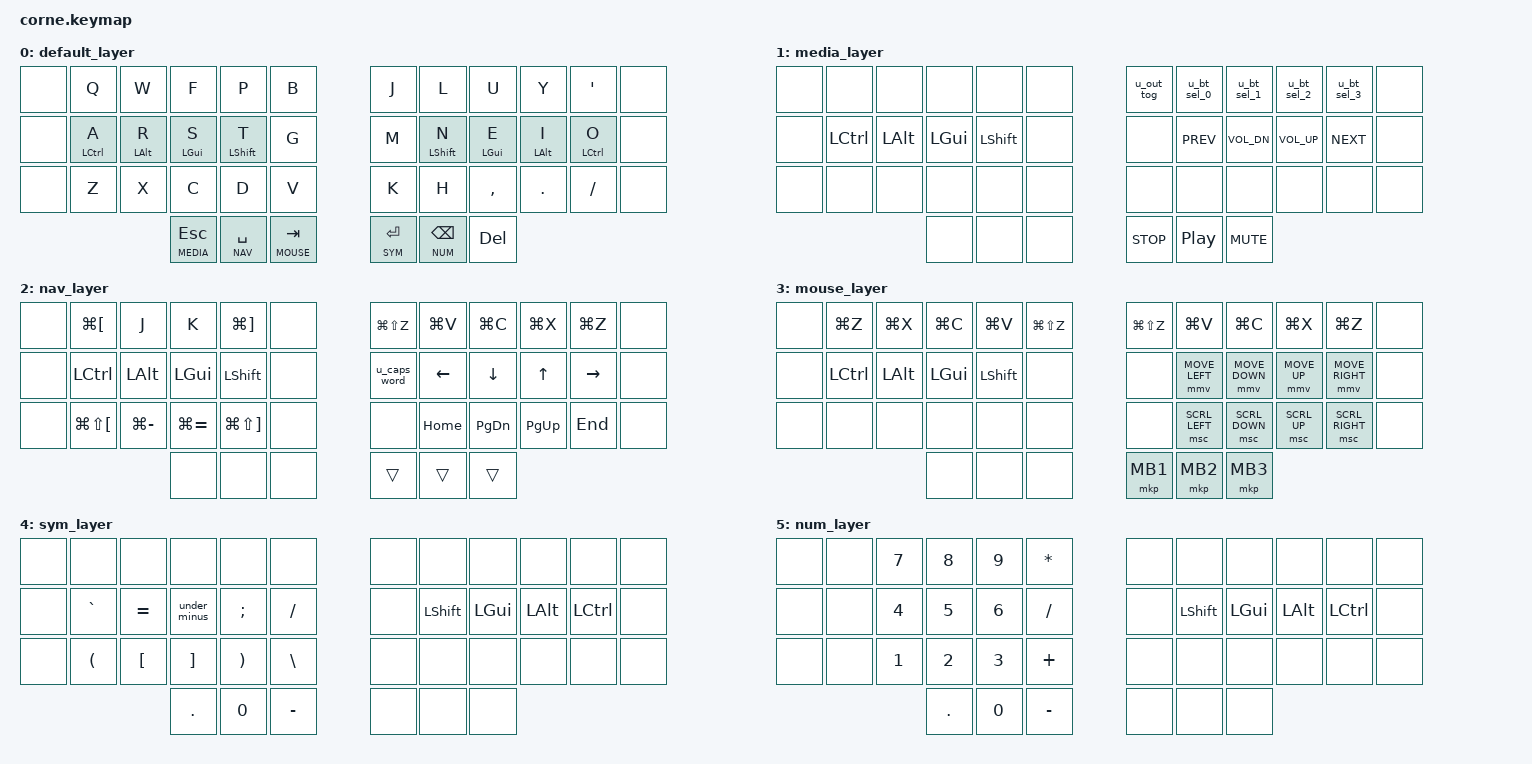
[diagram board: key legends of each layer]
// These must precede the pointing.h import according to https://zmk.dev/docs/keymaps/behaviors/mouse-emulation
#define ZMK_MOUSE_DEFAULT_MOVE_VAL 5000
#define ZMK_MOUSE_DEFAULT_SCRL_VAL 100

#include <behaviors.dtsi>
#include <dt-bindings/zmk/bt.h>
#include <dt-bindings/zmk/keys.h>
#include <dt-bindings/zmk/outputs.h>
#include <dt-bindings/zmk/pointing.h>

// This must be after zmk core imports
#include "zmk-helpers/helper.h"
#include "zmk-helpers/key-labels/42.h"

// Timeless home row mods. See https://github.com/urob/zmk-config?tab=readme-ov-file#timeless-homerow-mods
#define KEYS_L LT5 LT4 LT3 LT2 LT1 LT0 LM5 LM4 LM3 LM2 LM1 LM0 LB5 LB4 LB3 LB2 LB1 LB0  // Left-hand keys.
#define KEYS_R RT0 RT1 RT2 RT3 RT4 RT5 RM0 RM1 RM2 RM3 RM4 RM5 RB0 RB1 RB2 RB3 RB4 RB5  // Right-hand keys.
#define THUMBS LH2 LH1 LH0 RH0 RH1 RH2                                                  // Thumb keys.

/* Left-hand HRMs. */
ZMK_HOLD_TAP(hml,
    flavor = "balanced";
    tapping-term-ms = <280>;
    quick-tap-ms = <175>;
    require-prior-idle-ms = <150>;
    bindings = <&kp>, <&kp>;
    hold-trigger-key-positions = <KEYS_R THUMBS>;
    hold-trigger-on-release;
)

/* Right-hand HRMs. */
ZMK_HOLD_TAP(hmr,
    flavor = "balanced";
    tapping-term-ms = <280>;
    quick-tap-ms = <175>;
    require-prior-idle-ms = <150>;
    bindings = <&kp>, <&kp>;
    hold-trigger-key-positions = <KEYS_L THUMBS>;
    hold-trigger-on-release;
)

// pinky, ring, middle, index finger home row modifiers
#define HRM_P LCTRL
#define HRM_R LALT
#define HRM_M LGUI
#define HRM_I LSHIFT

#define DEFAULT 0
#define MEDIA 1
#define NAV 2
#define MOUSE 3
#define SYM 4
#define NUM 5
#define FUN 6

#define ___ &none

&lt {
  // Tap+hold on thumb keys to get repeated key press behavior. Helpful for backspace especially.
  quick-tap-ms = <200>;
};
&mmv {
  acceleration-exponent = <1>;
  time-to-max-speed-ms = <1500>;
  delay-ms = <0>;
};
&msc {
  acceleration-exponent = <1>;
  time-to-max-speed-ms = <5000>;
  delay-ms = <0>;
};

ZMK_LAYER(default_layer,
    // ╭─────────────┬─────────────┬─────────────┬─────────────┬─────────────┬─────────────╮   ╭─────────────┬─────────────┬─────────────┬─────────────┬─────────────┬─────────────╮
         ___           &kp Q         &kp W         &kp F         &kp P         &kp B             &kp J         &kp L         &kp U         &kp Y         &kp SINGLE_QUOTE ___
    // ├─────────────┼─────────────┼─────────────┼─────────────┼─────────────┼─────────────┤   ├─────────────┼─────────────┼─────────────┼─────────────┼─────────────┼─────────────┤
         ___           &hml HRM_P A  &hml HRM_R R  &hml HRM_M S  &hml HRM_I T  &kp G             &kp M         &hmr HRM_I N  &hmr HRM_M E  &hmr HRM_R I  &hmr HRM_P O  ___
    // ├─────────────┼─────────────┼─────────────┼─────────────┼─────────────┼─────────────┤   ├─────────────┼─────────────┼─────────────┼─────────────┼─────────────┼─────────────┤
         ___           &kp Z         &kp X         &kp C         &kp D         &kp V             &kp K         &kp H         &kp COMMA     &kp DOT       &kp SLASH     ___
    // ╰─────────────────────────────────────────┼─────────────┼─────────────┼─────────────┤   ├─────────────┼─────────────┼─────────────┼─────────────────────────────────────────╯
                                                   &lt MEDIA ESC &lt NAV SPACE &lt MOUSE TAB     &lt SYM ENTER &lt NUM BACKSPACE &kp DELETE
    //                                           ╰─────────────┴─────────────┴─────────────╯   ╰─────────────┴─────────────┴─────────────╯
)

#define U_MACRO(name,...) \
/ { \
  macros { \
    name: name { \
      compatible = "zmk,behavior-macro"; \
      #binding-cells = <0>; \
      __VA_ARGS__ \
    }; \
  }; \
};
#define MIRYOKU_SHIFT_FUNCTION(NAME, BINDING, SHIFT_BINDING) \
/ { \
  behaviors { \
    NAME: NAME { \
      compatible = "zmk,behavior-mod-morph"; \
      #binding-cells = <0>; \
      bindings = <BINDING>, <SHIFT_BINDING>; \
      mods = <(MOD_LSFT|MOD_RSFT)>; \
    }; \
  }; \
};
#define MIRYOKU_SHIFT_MACRO(NAME, BINDING, SHIFT_BINDING) \
U_MACRO(u_macro_ ## NAME, wait-ms = <0>; bindings = <SHIFT_BINDING>;) \
MIRYOKU_SHIFT_FUNCTION(NAME, BINDING, &u_macro_ ## NAME)

MIRYOKU_SHIFT_MACRO(u_bt_sel_0, &bt BT_SEL 0, &bt BT_SEL 0 &bt BT_CLR)
MIRYOKU_SHIFT_MACRO(u_bt_sel_1, &bt BT_SEL 1, &bt BT_SEL 1 &bt BT_CLR)
MIRYOKU_SHIFT_MACRO(u_bt_sel_2, &bt BT_SEL 2, &bt BT_SEL 2 &bt BT_CLR)
MIRYOKU_SHIFT_MACRO(u_bt_sel_3, &bt BT_SEL 3, &bt BT_SEL 3 &bt BT_CLR)
MIRYOKU_SHIFT_MACRO(u_bt_sel_4, &bt BT_SEL 4, &bt BT_SEL 4 &bt BT_CLR)

MIRYOKU_SHIFT_FUNCTION(u_out_tog, &out OUT_TOG, &out OUT_USB)

MIRYOKU_SHIFT_FUNCTION(u_caps_word, &caps_word, &kp CAPS)

ZMK_LAYER(media_layer,
    // ╭─────────────┬─────────────┬─────────────┬─────────────┬─────────────┬─────────────╮   ╭─────────────┬─────────────┬─────────────┬─────────────┬─────────────┬─────────────╮
         ___           ___           ___           ___           ___           ___               &u_out_tog    &u_bt_sel_0   &u_bt_sel_1   &u_bt_sel_2   &u_bt_sel_3   ___
    // ├─────────────┼─────────────┼─────────────┼─────────────┼─────────────┼─────────────┤   ├─────────────┼─────────────┼─────────────┼─────────────┼─────────────┼─────────────┤
         ___           &kp HRM_P     &kp HRM_R     &kp HRM_M     &kp HRM_I     ___               ___           &kp C_PREV    &kp C_VOL_DN  &kp C_VOL_UP  &kp C_NEXT    ___
    // ├─────────────┼─────────────┼─────────────┼─────────────┼─────────────┼─────────────┤   ├─────────────┼─────────────┼─────────────┼─────────────┼─────────────┼─────────────┤
         ___           ___           ___           ___           ___           ___               ___           ___           ___           ___           ___           ___
    // ╰─────────────────────────────────────────┼─────────────┼─────────────┼─────────────┤   ├─────────────┼─────────────┼─────────────┼─────────────────────────────────────────╯
                                                   ___           ___           ___               &kp C_STOP    &kp C_PP      &kp C_MUTE
    //                                           ╰─────────────┴─────────────┴─────────────╯   ╰─────────────┴─────────────┴─────────────╯
)

#define undo  &kp LG(Z)
#define cut   &kp LG(X)
#define copy  &kp LG(C)
#define paste &kp LG(V)
#define redo  &kp LG(LS(Z))

ZMK_LAYER(nav_layer,
    // ╭─────────────┬─────────────┬─────────────┬─────────────┬─────────────┬─────────────╮   ╭─────────────┬─────────────┬─────────────┬─────────────┬─────────────┬─────────────╮
         ___           &kp LG(LBKT)  &kp J         &kp K         &kp LG(RBKT)  ___               redo          paste         copy          cut           undo          ___
    // ├─────────────┼─────────────┼─────────────┼─────────────┼─────────────┼─────────────┤   ├─────────────┼─────────────┼─────────────┼─────────────┼─────────────┼─────────────┤
         ___           &kp HRM_P     &kp HRM_R     &kp HRM_M     &kp HRM_I     ___               &u_caps_word  &kp LEFT      &kp DOWN      &kp UP        &kp RIGHT     ___
    // ├─────────────┼─────────────┼─────────────┼─────────────┼─────────────┼─────────────┤   ├─────────────┼─────────────┼─────────────┼─────────────┼─────────────┼─────────────┤
         ___           &kp LG(LS(LBKT)) &kp LG(MINUS) &kp LG(EQUAL) &kp LG(LS(RBKT)) ___          ___           &kp HOME      &kp PG_DN     &kp PG_UP     &kp END       ___
    // ╰─────────────────────────────────────────┼─────────────┼─────────────┼─────────────┤   ├─────────────┼─────────────┼─────────────┼─────────────────────────────────────────╯
                                                   ___           ___           ___               &trans        &trans        &trans
    //                                           ╰─────────────┴─────────────┴─────────────╯   ╰─────────────┴─────────────┴─────────────╯
)

ZMK_LAYER(mouse_layer,
    // ╭─────────────┬─────────────┬─────────────┬─────────────┬─────────────┬─────────────╮   ╭─────────────┬─────────────┬─────────────┬─────────────┬─────────────┬─────────────╮
         ___           undo          cut           copy          paste         redo              redo          paste         copy          cut           undo          ___
    // ├─────────────┼─────────────┼─────────────┼─────────────┼─────────────┼─────────────┤   ├─────────────┼─────────────┼─────────────┼─────────────┼─────────────┼─────────────┤
         ___           &kp HRM_P     &kp HRM_R     &kp HRM_M     &kp HRM_I     ___               ___           &mmv MOVE_LEFT &mmv MOVE_DOWN &mmv MOVE_UP &mmv MOVE_RIGHT ___
    // ├─────────────┼─────────────┼─────────────┼─────────────┼─────────────┼─────────────┤   ├─────────────┼─────────────┼─────────────┼─────────────┼─────────────┼─────────────┤
         ___           ___           ___           ___           ___           ___               ___           &msc SCRL_LEFT &msc SCRL_DOWN &msc SCRL_UP &msc SCRL_RIGHT ___
    // ╰─────────────────────────────────────────┼─────────────┼─────────────┼─────────────┤   ├─────────────┼─────────────┼─────────────┼─────────────────────────────────────────╯
                                                   ___           ___           ___               &mkp MB1      &mkp MB2      &mkp MB3
    //                                           ╰─────────────┴─────────────┴─────────────╯   ╰─────────────┴─────────────┴─────────────╯
)

MIRYOKU_SHIFT_MACRO(under_minus, &kp UNDERSCORE, &kp MINUS)

ZMK_LAYER(sym_layer,
    // ╭─────────────┬─────────────┬─────────────┬─────────────┬─────────────┬─────────────╮   ╭─────────────┬─────────────┬─────────────┬─────────────┬─────────────┬─────────────╮
         ___           ___           ___           ___           ___           ___               ___           ___           ___           ___           ___           ___
    // ├─────────────┼─────────────┼─────────────┼─────────────┼─────────────┼─────────────┤   ├─────────────┼─────────────┼─────────────┼─────────────┼─────────────┼─────────────┤
         ___           &kp GRAVE     &kp EQUAL     &under_minus  &kp SEMICOLON &kp SLASH         ___           &kp HRM_I     &kp HRM_M     &kp HRM_R     &kp HRM_P     ___
    // ├─────────────┼─────────────┼─────────────┼─────────────┼─────────────┼─────────────┤   ├─────────────┼─────────────┼─────────────┼─────────────┼─────────────┼─────────────┤
         ___           &kp LPAR      &kp LBKT      &kp RBKT      &kp RPAR      &kp BACKSLASH     ___           ___           ___           ___           ___           ___
    // ╰─────────────────────────────────────────┼─────────────┼─────────────┼─────────────┤   ├─────────────┼─────────────┼─────────────┼─────────────────────────────────────────╯
                                                   &kp PERIOD    &kp N0        &kp MINUS         ___           ___           ___
    //                                           ╰─────────────┴─────────────┴─────────────╯   ╰─────────────┴─────────────┴─────────────╯
)

ZMK_LAYER(num_layer,
    // ╭─────────────┬─────────────┬─────────────┬─────────────┬─────────────┬─────────────╮   ╭─────────────┬─────────────┬─────────────┬─────────────┬─────────────┬─────────────╮
         ___           ___           &kp N7        &kp N8        &kp N9        &kp ASTERISK      ___           ___           ___           ___           ___           ___
    // ├─────────────┼─────────────┼─────────────┼─────────────┼─────────────┼─────────────┤   ├─────────────┼─────────────┼─────────────┼─────────────┼─────────────┼─────────────┤
         ___           ___           &kp N4        &kp N5        &kp N6        &kp SLASH         ___           &kp HRM_I     &kp HRM_M     &kp HRM_R     &kp HRM_P     ___
    // ├─────────────┼─────────────┼─────────────┼─────────────┼─────────────┼─────────────┤   ├─────────────┼─────────────┼─────────────┼─────────────┼─────────────┼─────────────┤
         ___           ___           &kp N1        &kp N2        &kp N3        &kp PLUS          ___           ___           ___           ___           ___           ___
    // ╰─────────────────────────────────────────┼─────────────┼─────────────┼─────────────┤   ├─────────────┼─────────────┼─────────────┼─────────────────────────────────────────╯
                                                   &kp PERIOD    &kp N0        &kp MINUS         ___           ___           ___
    //                                           ╰─────────────┴─────────────┴─────────────╯   ╰─────────────┴─────────────┴─────────────╯
)
